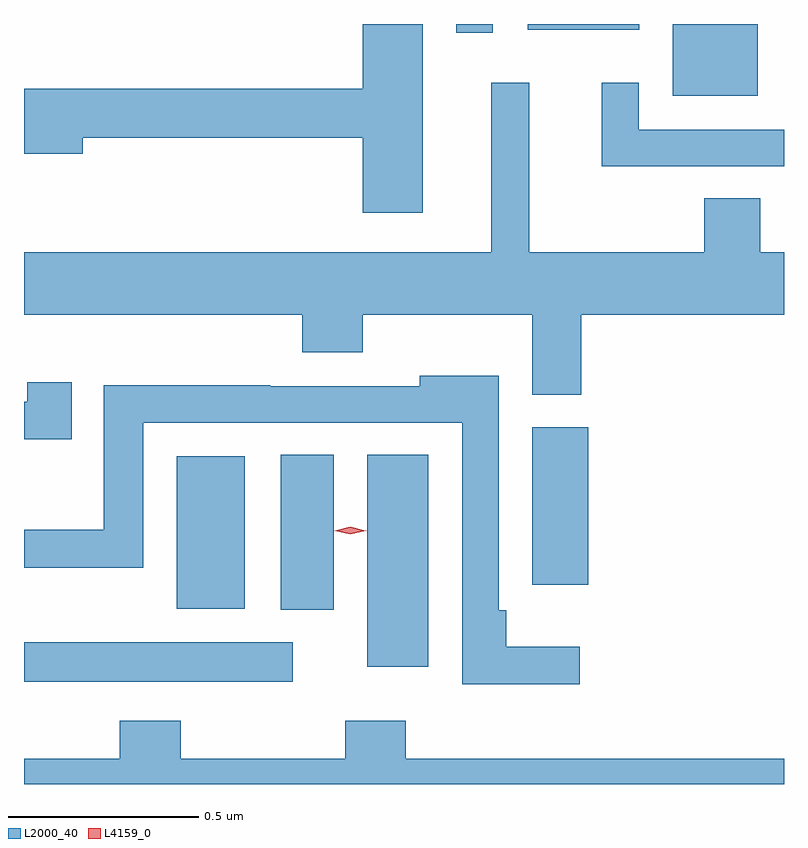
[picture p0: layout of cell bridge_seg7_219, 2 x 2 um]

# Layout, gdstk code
import gdstk
lib = gdstk.Library(unit=1e-6, precision=1e-09)
def R(c, l, rs):  # rectangles x0, y0, x1, y1
    for r in rs: c.add(gdstk.rectangle(r[:2], r[2:], *l))
def P(c, l, *ps):  # polygons
    for p in ps: c.add(gdstk.Polygon(p, *l))
L2000_40 = (2000, 40)
L4159_0 = (4159, 0)

bridge_seg7_219 = lib.new_cell('bridge_seg7_219')
R(bridge_seg7_219, L2000_40, [(312.977,1000.982,313.684,1001.086), (313.88,1001.022,314.041,1001.579), (313.652,1001.171,313.792,1001.579), (313.379,1001.174,313.558,1001.575), (314.315,1001.238,314.462,1001.652), (314.684,1002.524,314.908,1002.713), (314.115,1002.69,314.211,1002.713), (314.303,1002.698,314.596,1002.713)])
P(bridge_seg7_219, L2000_40, [(314.026,1002.713),(313.868,1002.713),(313.868,1002.542),(312.977,1002.542),(312.977,1002.371),(313.132,1002.371),(313.132,1002.414),(313.868,1002.414),(313.868,1002.216),(314.026,1002.216)],
  [(314.444,1001.948),(314.977,1001.948),(314.977,1002.112),(314.914,1002.112),(314.914,1002.254),(314.767,1002.254),(314.767,1002.112),(314.306,1002.112),(314.306,1002.559),(314.207,1002.559),(314.207,1002.112),(312.977,1002.112),(312.977,1001.948),(313.709,1001.948),(313.709,1001.849),(313.869,1001.849),(313.869,1001.948),(314.315,1001.948),(314.315,1001.737),(314.444,1001.737)],
  [(314.977,1002.435),(314.595,1002.435),(314.595,1002.559),(314.498,1002.559),(314.498,1002.339),(314.977,1002.339)],
  [(314.44,1001.074),(314.246,1001.074),(314.246,1001.17),(314.226,1001.17),(314.226,1001.788),(314.019,1001.788),(314.019,1001.76),(313.625,1001.76),(313.625,1001.762),(313.187,1001.762),(313.187,1001.382),(312.977,1001.382),(312.977,1001.282),(313.291,1001.282),(313.291,1001.664),(314.13,1001.664),(314.13,1000.976),(314.44,1000.976)],
  [(313.102,1001.77),(312.985,1001.77),(312.985,1001.719),(312.977,1001.719),(312.977,1001.62),(313.102,1001.62)],
  [(314.977,1000.78),(313.982,1000.78),(313.982,1000.879),(313.822,1000.879),(313.822,1000.78),(313.389,1000.78),(313.389,1000.879),(313.229,1000.879),(313.229,1000.78),(312.977,1000.78),(312.977,1000.713),(314.977,1000.713)])
P(bridge_seg7_219, L4159_0, [(313.836,1001.37),(313.795,1001.38),(313.794,1001.38),(313.795,1001.38),(313.836,1001.39),(313.876,1001.38),(313.877,1001.38),(313.876,1001.38)])

lib.write_gds('bridge_seg7_219.gds')
